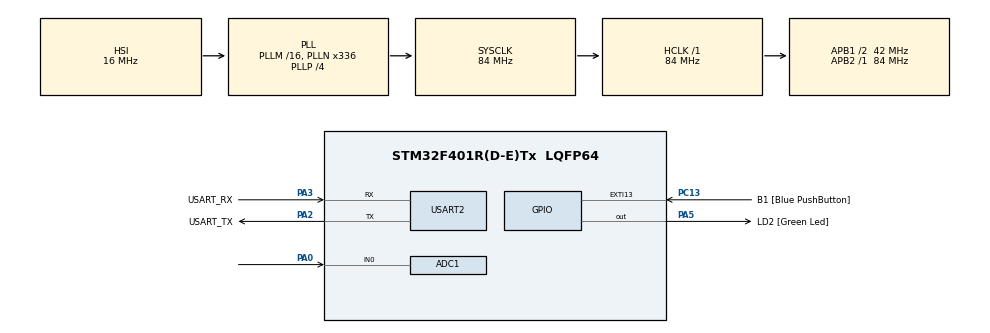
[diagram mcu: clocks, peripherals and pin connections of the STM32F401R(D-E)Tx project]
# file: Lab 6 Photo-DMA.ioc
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ADC1.Channel-0\#ChannelRegularConversion=ADC_CHANNEL_0
ADC1.ContinuousConvMode=DISABLE
ADC1.DMAContinuousRequests=ENABLE
ADC1.EOCSelection=ADC_EOC_SEQ_CONV
ADC1.ExternalTrigConv=ADC_EXTERNALTRIGCONV_T3_TRGO
ADC1.NbrOfConversionFlag=1
ADC1.Rank-0\#ChannelRegularConversion=1
ADC1.SamplingTime-0\#ChannelRegularConversion=ADC_SAMPLETIME_28CYCLES
ADC1.master=1
Dma.ADC1.0.Direction=DMA_PERIPH_TO_MEMORY
Dma.ADC1.0.FIFOMode=DMA_FIFOMODE_DISABLE
Dma.ADC1.0.Instance=DMA2_Stream0
Dma.ADC1.0.MemDataAlignment=DMA_MDATAALIGN_HALFWORD
Dma.ADC1.0.MemInc=DMA_MINC_ENABLE
Dma.ADC1.0.Mode=DMA_CIRCULAR
Dma.ADC1.0.PeriphDataAlignment=DMA_PDATAALIGN_HALFWORD
Dma.ADC1.0.PeriphInc=DMA_PINC_DISABLE
Dma.ADC1.0.Priority=DMA_PRIORITY_HIGH
Dma.Request0=ADC1
Mcu.Family=STM32F4
Mcu.Name=STM32F401R(D-E)Tx
Mcu.Package=LQFP64
NVIC.ADC_IRQn=true\:0\:0\:false\:false\:true\:true\:true\:true
NVIC.DMA2_Stream0_IRQn=true\:0\:0\:false\:false\:true\:false\:true\:true
NVIC.PriorityGroup=NVIC_PRIORITYGROUP_0
NVIC.TIM3_IRQn=true\:0\:0\:false\:false\:true\:true\:true\:true
NVIC.USART2_IRQn=true\:0\:0\:false\:false\:true\:true\:true\:true
PA0-WKUP.Signal=ADCx_IN0
PA13.GPIO_Label=TMS
PA13.Mode=Serial_Wire
PA13.Signal=SYS_JTMS-SWDIO
PA14.GPIO_Label=TCK
PA14.Mode=Serial_Wire
PA14.Signal=SYS_JTCK-SWCLK
PA2.GPIO_Label=USART_TX
PA2.GPIO_Mode=GPIO_MODE_AF_PP
PA2.GPIO_PuPd=GPIO_NOPULL
PA2.GPIO_Speed=GPIO_SPEED_FREQ_LOW
PA2.Mode=Asynchronous
PA2.Signal=USART2_TX
PA3.GPIO_Label=USART_RX
PA3.GPIO_Mode=GPIO_MODE_AF_PP
PA3.GPIO_PuPd=GPIO_NOPULL
PA3.GPIO_Speed=GPIO_SPEED_FREQ_LOW
PA3.Mode=Asynchronous
PA3.Signal=USART2_RX
PA5.GPIO_Label=LD2 [Green Led]
PA5.GPIO_Mode=GPIO_MODE_OUTPUT_PP
PA5.GPIO_PuPd=GPIO_NOPULL
PA5.GPIO_Speed=GPIO_SPEED_FREQ_LOW
PA5.Signal=GPIO_Output
PB3.GPIO_Label=SWO
PB3.Signal=SYS_JTDO-SWO
PC13-ANTI_TAMP.GPIO_Label=B1 [Blue PushButton]
PC13-ANTI_TAMP.GPIO_ModeDefaultEXTI=GPIO_MODE_IT_FALLING
PC13-ANTI_TAMP.GPIO_PuPd=GPIO_NOPULL
PC13-ANTI_TAMP.Signal=GPXTI13
PC14-OSC32_IN.Mode=LSE-External-Oscillator
PC14-OSC32_IN.Signal=RCC_OSC32_IN
PC15-OSC32_OUT.Mode=LSE-External-Oscillator
PC15-OSC32_OUT.Signal=RCC_OSC32_OUT
PH0\ -\ OSC_IN.Mode=HSE-External-Clock-Source
PH0\ -\ OSC_IN.Signal=RCC_OSC_IN
PH1\ -\ OSC_OUT.Mode=HSE-External-Clock-Source
PH1\ -\ OSC_OUT.Signal=RCC_OSC_OUT
ProjectManager.HeapSize=0x200
ProjectManager.StackSize=0x400
ProjectManager.TargetToolchain=STM32CubeIDE
RCC.48MHZClocksFreq_Value=48000000
RCC.AHBFreq_Value=84000000
RCC.APB1CLKDivider=RCC_HCLK_DIV2
RCC.APB1Freq_Value=42000000
RCC.APB1TimFreq_Value=84000000
RCC.APB2Freq_Value=84000000
RCC.APB2TimFreq_Value=84000000
RCC.CortexFreq_Value=84000000
RCC.HCLKFreq_Value=84000000
RCC.HSE_VALUE=8000000
RCC.HSI_VALUE=16000000
RCC.PLLN=336
RCC.PLLP=RCC_PLLP_DIV4
RCC.PLLQ=7
RCC.SYSCLKFreq_VALUE=84000000
RCC.SYSCLKSource=RCC_SYSCLKSOURCE_PLLCLK
RCC.VCOOutputFreq_Value=336000000
SH.ADCx_IN0.0=ADC1_IN0,IN0
TIM3.Period=10
TIM3.Prescaler=8400
TIM3.TIM_MasterOutputTrigger=TIM_TRGO_UPDATE
USART2.VirtualMode=VM_ASYNC
VP_TIM3_VS_ClockSourceINT.Mode=Internal
board=NUCLEO-F401RE

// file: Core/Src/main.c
/* USER CODE BEGIN Header */
/**
 ******************************************************************************
 * @file           : main.c
 * @brief          : Main program body
 ******************************************************************************
 * @attention
 *
 * Copyright (c) 2023 STMicroelectronics.
 * All rights reserved.
 *
 * This software is licensed under terms that can be found in the LICENSE file
 * in the root directory of this software component.
 * If no LICENSE file comes with this software, it is provided AS-IS.
 *
 ******************************************************************************
 */
/* USER CODE END Header */
#include "main.h"

/* USER CODE BEGIN Includes */
#include <string.h>
#include <stdio.h>
#include <math.h>
/* USER CODE END Includes */

ADC_HandleTypeDef hadc1;
DMA_HandleTypeDef hdma_adc1;

TIM_HandleTypeDef htim3;

UART_HandleTypeDef huart2;

/* USER CODE BEGIN PV */
uint16_t x[1000];
double avg = 0;

void HAL_ADC_ConvHalfCpltCallback(ADC_HandleTypeDef *hadc) { //each half cycle we do the median
	// ADC conversion complete callback
	if (hadc == &hadc1) {
		for (int i = 0; i < 500; i++) {
			avg += (float)x[i] / 1000;
		}
	}

}

void HAL_ADC_ConvCpltCallback(ADC_HandleTypeDef *hadc) {
	// ADC conversion complete callback
	if (hadc == &hadc1) {
		for (int i = 500; i < 1000; i++) {
			avg += (float)x[i] / 1000;
		}
		char string[128];
		float Vadc = (avg / 4096.0 * 3.3);
		float LDR = (Vadc * 100000)/(3.3-Vadc);
		float lux = 10 * pow(100000/LDR, 1.25);

		snprintf(string, sizeof(string), "Lux: %.3f\r\n", lux);
		HAL_UART_Transmit(&huart2, (uint8_t*) string, strlen(string), 100);
		avg = 0;
	}
}

/* USER CODE END PV */

void SystemClock_Config(void);
static void MX_GPIO_Init(void);
static void MX_DMA_Init(void);
static void MX_USART2_UART_Init(void);
static void MX_ADC1_Init(void);
static void MX_TIM3_Init(void);

int main(void)
{

  /* MCU Configuration--------------------------------------------------------*/

  /* Reset of all peripherals, Initializes the Flash interface and the Systick. */
  HAL_Init();

  /* Configure the system clock */
  SystemClock_Config();

  /* Initialize all configured peripherals */
  MX_GPIO_Init();
  MX_DMA_Init();
  MX_USART2_UART_Init();
  MX_ADC1_Init();
  MX_TIM3_Init();
  /* USER CODE BEGIN 2 */

  if(HAL_ADC_Start_DMA(&hadc1, (uint32_t*)x, sizeof(x)/sizeof(x[0])) != HAL_OK)
	  Error_Handler();
  if(HAL_TIM_Base_Start(&htim3) != HAL_OK)
	  Error_Handler();

  /* USER CODE END 2 */

  /* Infinite loop */
	while (1) {

	}
}

void SystemClock_Config(void)
{
  RCC_OscInitTypeDef RCC_OscInitStruct = {0};
  RCC_ClkInitTypeDef RCC_ClkInitStruct = {0};

  /** Configure the main internal regulator output voltage
  */
  __HAL_RCC_PWR_CLK_ENABLE();
  __HAL_PWR_VOLTAGESCALING_CONFIG(PWR_REGULATOR_VOLTAGE_SCALE2);

  /** Initializes the RCC Oscillators according to the specified parameters
  * in the RCC_OscInitTypeDef structure.
  */
  RCC_OscInitStruct.OscillatorType = RCC_OSCILLATORTYPE_HSI;
  RCC_OscInitStruct.HSIState = RCC_HSI_ON;
  RCC_OscInitStruct.HSICalibrationValue = RCC_HSICALIBRATION_DEFAULT;
  RCC_OscInitStruct.PLL.PLLState = RCC_PLL_ON;
  RCC_OscInitStruct.PLL.PLLSource = RCC_PLLSOURCE_HSI;
  RCC_OscInitStruct.PLL.PLLM = 16;
  RCC_OscInitStruct.PLL.PLLN = 336;
  RCC_OscInitStruct.PLL.PLLP = RCC_PLLP_DIV4;
  RCC_OscInitStruct.PLL.PLLQ = 7;
  if (HAL_RCC_OscConfig(&RCC_OscInitStruct) != HAL_OK)
  {
    Error_Handler();
  }

  /** Initializes the CPU, AHB and APB buses clocks
  */
  RCC_ClkInitStruct.ClockType = RCC_CLOCKTYPE_HCLK|RCC_CLOCKTYPE_SYSCLK
                              |RCC_CLOCKTYPE_PCLK1|RCC_CLOCKTYPE_PCLK2;
  RCC_ClkInitStruct.SYSCLKSource = RCC_SYSCLKSOURCE_PLLCLK;
  RCC_ClkInitStruct.AHBCLKDivider = RCC_SYSCLK_DIV1;
  RCC_ClkInitStruct.APB1CLKDivider = RCC_HCLK_DIV2;
  RCC_ClkInitStruct.APB2CLKDivider = RCC_HCLK_DIV1;

  if (HAL_RCC_ClockConfig(&RCC_ClkInitStruct, FLASH_LATENCY_2) != HAL_OK)
  {
    Error_Handler();
  }
}

static void MX_ADC1_Init(void)
{

  ADC_ChannelConfTypeDef sConfig = {0};

  /** Configure the global features of the ADC (Clock, Resolution, Data Alignment and number of conversion)
  */
  hadc1.Instance = ADC1;
  hadc1.Init.ClockPrescaler = ADC_CLOCK_SYNC_PCLK_DIV4;
  hadc1.Init.Resolution = ADC_RESOLUTION_12B;
  hadc1.Init.ScanConvMode = DISABLE;
  hadc1.Init.ContinuousConvMode = DISABLE;
  hadc1.Init.DiscontinuousConvMode = DISABLE;
  hadc1.Init.ExternalTrigConvEdge = ADC_EXTERNALTRIGCONVEDGE_RISING;
  hadc1.Init.ExternalTrigConv = ADC_EXTERNALTRIGCONV_T3_TRGO;
  hadc1.Init.DataAlign = ADC_DATAALIGN_RIGHT;
  hadc1.Init.NbrOfConversion = 1;
  hadc1.Init.DMAContinuousRequests = ENABLE;
  hadc1.Init.EOCSelection = ADC_EOC_SEQ_CONV;
  if (HAL_ADC_Init(&hadc1) != HAL_OK)
  {
    Error_Handler();
  }

  /** Configure for the selected ADC regular channel its corresponding rank in the sequencer and its sample time.
  */
  sConfig.Channel = ADC_CHANNEL_0;
  sConfig.Rank = 1;
  sConfig.SamplingTime = ADC_SAMPLETIME_28CYCLES;
  if (HAL_ADC_ConfigChannel(&hadc1, &sConfig) != HAL_OK)
  {
    Error_Handler();
  }

}

static void MX_TIM3_Init(void)
{

  TIM_ClockConfigTypeDef sClockSourceConfig = {0};
  TIM_MasterConfigTypeDef sMasterConfig = {0};

  htim3.Instance = TIM3;
  htim3.Init.Prescaler = 8400;
  htim3.Init.CounterMode = TIM_COUNTERMODE_UP;
  htim3.Init.Period = 10;
  htim3.Init.ClockDivision = TIM_CLOCKDIVISION_DIV1;
  htim3.Init.AutoReloadPreload = TIM_AUTORELOAD_PRELOAD_DISABLE;
  if (HAL_TIM_Base_Init(&htim3) != HAL_OK)
  {
    Error_Handler();
  }
  sClockSourceConfig.ClockSource = TIM_CLOCKSOURCE_INTERNAL;
  if (HAL_TIM_ConfigClockSource(&htim3, &sClockSourceConfig) != HAL_OK)
  {
    Error_Handler();
  }
  sMasterConfig.MasterOutputTrigger = TIM_TRGO_UPDATE;
  sMasterConfig.MasterSlaveMode = TIM_MASTERSLAVEMODE_DISABLE;
  if (HAL_TIMEx_MasterConfigSynchronization(&htim3, &sMasterConfig) != HAL_OK)
  {
    Error_Handler();
  }

}

static void MX_USART2_UART_Init(void)
{

  huart2.Instance = USART2;
  huart2.Init.BaudRate = 115200;
  huart2.Init.WordLength = UART_WORDLENGTH_8B;
  huart2.Init.StopBits = UART_STOPBITS_1;
  huart2.Init.Parity = UART_PARITY_NONE;
  huart2.Init.Mode = UART_MODE_TX_RX;
  huart2.Init.HwFlowCtl = UART_HWCONTROL_NONE;
  huart2.Init.OverSampling = UART_OVERSAMPLING_16;
  if (HAL_UART_Init(&huart2) != HAL_OK)
  {
    Error_Handler();
  }

}

static void MX_DMA_Init(void)
{

  /* DMA controller clock enable */
  __HAL_RCC_DMA2_CLK_ENABLE();

  /* DMA interrupt init */
  /* DMA2_Stream0_IRQn interrupt configuration */
  HAL_NVIC_SetPriority(DMA2_Stream0_IRQn, 0, 0);
  HAL_NVIC_EnableIRQ(DMA2_Stream0_IRQn);

}

static void MX_GPIO_Init(void)
{
  GPIO_InitTypeDef GPIO_InitStruct = {0};

  /* GPIO Ports Clock Enable */
  __HAL_RCC_GPIOC_CLK_ENABLE();
  __HAL_RCC_GPIOH_CLK_ENABLE();
  __HAL_RCC_GPIOA_CLK_ENABLE();
  __HAL_RCC_GPIOB_CLK_ENABLE();

  /*Configure GPIO pin Output Level */
  HAL_GPIO_WritePin(LD2_GPIO_Port, LD2_Pin, GPIO_PIN_RESET);

  /*Configure GPIO pin : B1_Pin */
  GPIO_InitStruct.Pin = B1_Pin;
  GPIO_InitStruct.Mode = GPIO_MODE_IT_FALLING;
  GPIO_InitStruct.Pull = GPIO_NOPULL;
  HAL_GPIO_Init(B1_GPIO_Port, &GPIO_InitStruct);

  /*Configure GPIO pin : LD2_Pin */
  GPIO_InitStruct.Pin = LD2_Pin;
  GPIO_InitStruct.Mode = GPIO_MODE_OUTPUT_PP;
  GPIO_InitStruct.Pull = GPIO_NOPULL;
  GPIO_InitStruct.Speed = GPIO_SPEED_FREQ_LOW;
  HAL_GPIO_Init(LD2_GPIO_Port, &GPIO_InitStruct);

}

void Error_Handler(void)
{
	__disable_irq();
	while (1) {
	}
}
